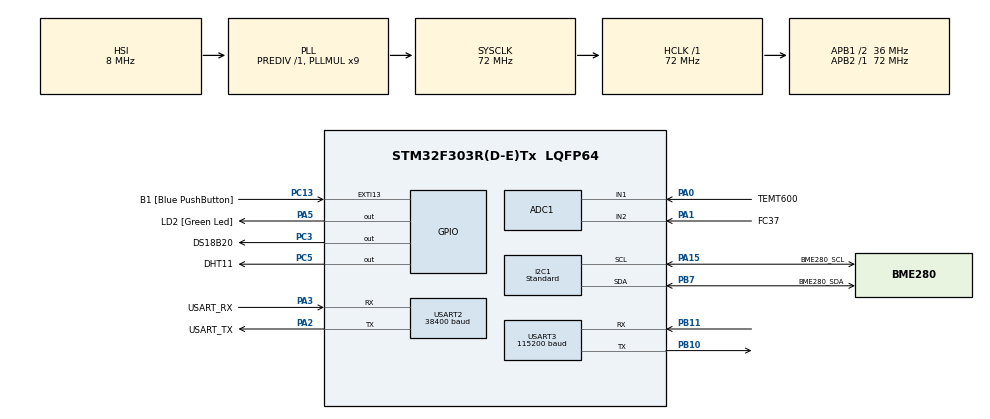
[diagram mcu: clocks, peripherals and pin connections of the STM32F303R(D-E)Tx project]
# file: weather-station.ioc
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ADC1.Channel-2\#ChannelRegularConversion=ADC_CHANNEL_1
ADC1.Channel-3\#ChannelRegularConversion=ADC_CHANNEL_2
ADC1.ClockPrescaler=ADC_CLOCK_SYNC_PCLK_DIV4
ADC1.ContinuousConvMode=DISABLE
ADC1.DMAContinuousRequests=ENABLE
ADC1.ExternalTrigConv=ADC_EXTERNALTRIGCONV_T2_TRGO
ADC1.NbrOfConversion=2
ADC1.NbrOfConversionFlag=1
ADC1.Offset-2\#ChannelRegularConversion=0
ADC1.Offset-3\#ChannelRegularConversion=0
ADC1.OffsetNumber-2\#ChannelRegularConversion=ADC_OFFSET_NONE
ADC1.OffsetNumber-3\#ChannelRegularConversion=ADC_OFFSET_NONE
ADC1.Rank-2\#ChannelRegularConversion=1
ADC1.Rank-3\#ChannelRegularConversion=2
ADC1.SamplingTime-2\#ChannelRegularConversion=ADC_SAMPLETIME_601CYCLES_5
ADC1.SamplingTime-3\#ChannelRegularConversion=ADC_SAMPLETIME_601CYCLES_5
ADC1.master=1
Dma.ADC1.0.Direction=DMA_PERIPH_TO_MEMORY
Dma.ADC1.0.Instance=DMA1_Channel1
Dma.ADC1.0.MemDataAlignment=DMA_MDATAALIGN_HALFWORD
Dma.ADC1.0.MemInc=DMA_MINC_ENABLE
Dma.ADC1.0.Mode=DMA_CIRCULAR
Dma.ADC1.0.PeriphDataAlignment=DMA_PDATAALIGN_HALFWORD
Dma.ADC1.0.PeriphInc=DMA_PINC_DISABLE
Dma.ADC1.0.Priority=DMA_PRIORITY_LOW
Dma.Request0=ADC1
I2C1.I2C_Speed_Mode=I2C_Standard
I2C1.Timing=0x2000090E
Mcu.Family=STM32F3
Mcu.Name=STM32F303R(D-E)Tx
Mcu.Package=LQFP64
NVIC.DMA1_Channel1_IRQn=true\:0\:0\:false\:false\:true\:false\:true
NVIC.PriorityGroup=NVIC_PRIORITYGROUP_0
NVIC.RTC_Alarm_IRQn=true\:0\:0\:false\:false\:true\:true\:true
NVIC.USART3_IRQn=true\:0\:0\:false\:false\:true\:true\:true
PA0.GPIO_Label=TEMT600
PA0.Mode=IN1-Single-Ended
PA0.Signal=ADC1_IN1
PA1.GPIO_Label=FC37
PA1.Mode=IN2-Single-Ended
PA1.Signal=ADC1_IN2
PA13.GPIO_Label=TMS
PA13.Mode=Serial_Wire
PA13.Signal=SYS_JTMS-SWDIO
PA14.GPIO_Label=TCK
PA14.Mode=Serial_Wire
PA14.Signal=SYS_JTCK-SWCLK
PA15.GPIO_Label=BME280_SCL
PA15.Mode=I2C
PA15.Signal=I2C1_SCL
PA2.GPIO_Label=USART_TX
PA2.GPIO_Mode=GPIO_MODE_AF_PP
PA2.GPIO_PuPd=GPIO_NOPULL
PA2.GPIO_Speed=GPIO_SPEED_FREQ_LOW
PA2.Mode=Asynchronous
PA2.Signal=USART2_TX
PA3.GPIO_Label=USART_RX
PA3.GPIO_Mode=GPIO_MODE_AF_PP
PA3.GPIO_PuPd=GPIO_NOPULL
PA3.GPIO_Speed=GPIO_SPEED_FREQ_LOW
PA3.Mode=Asynchronous
PA3.Signal=USART2_RX
PA5.GPIO_Label=LD2 [Green Led]
PA5.GPIO_Mode=GPIO_MODE_OUTPUT_PP
PA5.GPIO_PuPd=GPIO_NOPULL
PA5.GPIO_Speed=GPIO_SPEED_FREQ_LOW
PA5.Signal=GPIO_Output
PB10.Mode=Asynchronous
PB10.Signal=USART3_TX
PB11.Mode=Asynchronous
PB11.Signal=USART3_RX
PB3.GPIO_Label=SWO
PB3.Signal=SYS_JTDO-TRACESWO
PB7.GPIO_Label=BME280_SDA
PB7.Mode=I2C
PB7.Signal=I2C1_SDA
PC13.GPIO_Label=B1 [Blue PushButton]
PC13.GPIO_ModeDefaultEXTI=GPIO_MODE_IT_FALLING
PC13.Signal=GPXTI13
PC14-OSC32_IN.Mode=LSE-External-Oscillator
PC14-OSC32_IN.Signal=RCC_OSC32_IN
PC15-OSC32_OUT.Mode=LSE-External-Oscillator
PC15-OSC32_OUT.Signal=RCC_OSC32_OUT
PC3.GPIO_Label=DS18B20
PC3.GPIO_PuPd=GPIO_PULLUP
PC3.Signal=GPIO_Output
PC5.GPIO_Label=DHT11
PC5.Signal=GPIO_Output
PF0-OSC_IN.Mode=HSE-External-Clock-Source
PF0-OSC_IN.Signal=RCC_OSC_IN
PF1-OSC_OUT.Signal=RCC_OSC_OUT
ProjectManager.HeapSize=0x200
ProjectManager.StackSize=0x400
ProjectManager.TargetToolchain=STM32CubeIDE
RCC.AHBFreq_Value=72000000
RCC.APB1CLKDivider=RCC_HCLK_DIV2
RCC.APB1Freq_Value=36000000
RCC.APB1TimFreq_Value=72000000
RCC.APB2Freq_Value=72000000
RCC.APB2TimFreq_Value=72000000
RCC.CortexFreq_Value=72000000
RCC.HCLKFreq_Value=72000000
RCC.HSE_VALUE=8000000
RCC.HSI_VALUE=8000000
RCC.PLLM=8
RCC.PLLMUL=RCC_PLL_MUL9
RCC.PLLN=336
RCC.PLLP=RCC_PLLP_DIV4
RCC.PLLQ=7
RCC.RCC_PLLsource_Clock_Source_FROM_HSE=RCC_HSE_PREDIV_DIV2
RCC.SYSCLKFreq_VALUE=72000000
RCC.SYSCLKSourceVirtual=RCC_SYSCLKSOURCE_PLLCLK
RCC.USBFreq_Value=72000000
RTC.Alarm-Alarm\ A=RTC_ALARM_A
RTC.AlarmDateWeekDaySel_B-Alarm\ B=RTC_ALARMDATEWEEKDAYSEL_DATE
RTC.AlarmMaskDateWeekDay-Alarm\ A=RTC_ALARMMASK_DATEWEEKDAY
RTC.AlarmMaskDateWeekDay_B-Alarm\ B=RTC_ALARMMASK_DATEWEEKDAY
RTC.AlarmMaskHours-Alarm\ A=RTC_ALARMMASK_HOURS
RTC.AlarmMaskHours_B-Alarm\ B=RTC_ALARMMASK_HOURS
RTC.AlarmMaskMinutes-Alarm\ A=RTC_ALARMMASK_MINUTES
RTC.AlarmMaskSeconds_B-Alarm\ B=RTC_ALARMMASK_SECONDS
RTC.Alarm_B-Alarm\ B=RTC_ALARM_B
RTC.AsynchPrediv=0x7f
RTC.HourFormat=RTC_HOURFORMAT_24
RTC.Minutes_B-Alarm\ B=1
RTC.Seconds_A-Alarm\ A=1
RTC.SynchPrediv=0x0130
TIM2.Period=1999
TIM2.Prescaler=35999
TIM2.TIM_MasterOutputTrigger=TIM_TRGO_UPDATE
USART2.BaudRate=38400
USART2.VirtualMode-Asynchronous=VM_ASYNC
USART3.BaudRate=115200
USART3.VirtualMode-Asynchronous=VM_ASYNC
VP_RTC_VS_RTC_Activate.Mode=RTC_Enabled
VP_RTC_VS_RTC_Alarm_A_Intern.Mode=Alarm A
VP_RTC_VS_RTC_Alarm_B_Intern.Mode=Alarm B
VP_RTC_VS_RTC_Calendar.Mode=RTC_Calendar
VP_TIM2_VS_ClockSourceINT.Mode=Internal
VP_TIM2_VS_ClockSourceITR.Mode=TriggerSource_ITR0
board=NUCLEO-F303RE

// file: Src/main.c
/* USER CODE BEGIN Header */
/**
  ******************************************************************************
  * @file           : main.c
  * @brief          : Main program body
  ******************************************************************************
  * @attention
  *
  * <h2><center>&copy; Copyright (c) 2019 STMicroelectronics.
  * All rights reserved.</center></h2>
  *
  * This software component is licensed by ST under BSD 3-Clause license,
  * the "License"; You may not use this file except in compliance with the
  * License. You may obtain a copy of the License at:
  *                        opensource.org/licenses/BSD-3-Clause
  *
  ******************************************************************************
  */
/* USER CODE END Header */

#include "main.h"

ADC_HandleTypeDef hadc1;
DMA_HandleTypeDef hdma_adc1;

I2C_HandleTypeDef hi2c1;

RTC_HandleTypeDef hrtc;

TIM_HandleTypeDef htim2;

UART_HandleTypeDef huart2;
UART_HandleTypeDef huart3;

void SystemClock_Config(void);
static void MX_GPIO_Init(void);
static void MX_USART2_UART_Init(void);
static void MX_USART3_UART_Init(void);
static void MX_DMA_Init(void);
static void MX_ADC1_Init(void);
static void MX_I2C1_Init(void);
static void MX_TIM2_Init(void);
static void MX_RTC_Init(void);

/* USER CODE BEGIN 0 */
bool is_conversion_completed = false;

RTC_AlarmTypeDef sAlarmA = {0};
uint8_t alarmA_seconds[] = { 0x30, 0x50, 0x10 };
uint8_t alarmA_idx = 0;
bool is_alarmA_fired = false;

RTC_AlarmTypeDef sAlarmB = {0};
uint8_t alarmB_minutes[] = { 0x30, 0x45, 0x0, 0x15 };
uint8_t alarmB_idx = 0;
bool is_alarmB_fired = false;

/* USER CODE END 0 */

int main(void)
{

  /* MCU Configuration--------------------------------------------------------*/

  /* Reset of all peripherals, Initializes the Flash interface and the Systick. */
  HAL_Init();

  /* Configure the system clock */
  SystemClock_Config();

  /* Initialize all configured peripherals */
  MX_GPIO_Init();
  MX_USART2_UART_Init();
  MX_USART3_UART_Init();
  MX_DMA_Init();
  MX_ADC1_Init();
  MX_I2C1_Init();
  MX_TIM2_Init();
  /* USER CODE BEGIN 2 */
  HAL_UART_Transmit(&huart2, (uint8_t*)PROGRAM_STARTED, (uint16_t)strlen(PROGRAM_STARTED), HAL_MAX_DELAY);
  start_sensors(&huart3, &huart2, &hadc1, &htim2, &hi2c1);
  MX_RTC_Init();
  HAL_UART_Transmit(&huart2, (uint8_t*)PROGRAM_READY, (uint16_t)strlen(PROGRAM_READY), HAL_MAX_DELAY);
  /* USER CODE END 2 */

  /* Infinite loop */
  /* USER CODE BEGIN WHILE */

  while (1) {
	  if (is_alarmA_fired) {
		  is_alarmA_fired = false;
		  sample_and_post(ENDPOINT_LIVE_SAMPLE, &is_conversion_completed);
	  } else if (is_alarmB_fired) {
		  is_alarmB_fired = false;
		  sample_and_post(ENDPOINT_NEW_SAMPLE, &is_conversion_completed);
	  }

	  SleepMode_LeaveGpioOn();
    /* USER CODE END WHILE */

  }
}

void SystemClock_Config(void)
{
  RCC_OscInitTypeDef RCC_OscInitStruct = {0};
  RCC_ClkInitTypeDef RCC_ClkInitStruct = {0};
  RCC_PeriphCLKInitTypeDef PeriphClkInit = {0};

  /** Initializes the CPU, AHB and APB busses clocks
  */
  RCC_OscInitStruct.OscillatorType = RCC_OSCILLATORTYPE_HSI|RCC_OSCILLATORTYPE_LSI;
  RCC_OscInitStruct.HSIState = RCC_HSI_ON;
  RCC_OscInitStruct.HSICalibrationValue = RCC_HSICALIBRATION_DEFAULT;
  RCC_OscInitStruct.LSIState = RCC_LSI_ON;
  RCC_OscInitStruct.PLL.PLLState = RCC_PLL_ON;
  RCC_OscInitStruct.PLL.PLLSource = RCC_PLLSOURCE_HSI;
  RCC_OscInitStruct.PLL.PLLMUL = RCC_PLL_MUL9;
  RCC_OscInitStruct.PLL.PREDIV = RCC_PREDIV_DIV1;
  if (HAL_RCC_OscConfig(&RCC_OscInitStruct) != HAL_OK)
  {
    Error_Handler();
  }
  /** Initializes the CPU, AHB and APB busses clocks
  */
  RCC_ClkInitStruct.ClockType = RCC_CLOCKTYPE_HCLK|RCC_CLOCKTYPE_SYSCLK
                              |RCC_CLOCKTYPE_PCLK1|RCC_CLOCKTYPE_PCLK2;
  RCC_ClkInitStruct.SYSCLKSource = RCC_SYSCLKSOURCE_PLLCLK;
  RCC_ClkInitStruct.AHBCLKDivider = RCC_SYSCLK_DIV1;
  RCC_ClkInitStruct.APB1CLKDivider = RCC_HCLK_DIV2;
  RCC_ClkInitStruct.APB2CLKDivider = RCC_HCLK_DIV1;

  if (HAL_RCC_ClockConfig(&RCC_ClkInitStruct, FLASH_LATENCY_2) != HAL_OK)
  {
    Error_Handler();
  }
  PeriphClkInit.PeriphClockSelection = RCC_PERIPHCLK_USART2|RCC_PERIPHCLK_USART3
                              |RCC_PERIPHCLK_I2C1|RCC_PERIPHCLK_RTC
                              |RCC_PERIPHCLK_TIM2;
  PeriphClkInit.Usart2ClockSelection = RCC_USART2CLKSOURCE_PCLK1;
  PeriphClkInit.Usart3ClockSelection = RCC_USART3CLKSOURCE_PCLK1;
  PeriphClkInit.I2c1ClockSelection = RCC_I2C1CLKSOURCE_HSI;
  PeriphClkInit.RTCClockSelection = RCC_RTCCLKSOURCE_LSI;
  PeriphClkInit.Tim2ClockSelection = RCC_TIM2CLK_HCLK;
  if (HAL_RCCEx_PeriphCLKConfig(&PeriphClkInit) != HAL_OK)
  {
    Error_Handler();
  }
}

static void MX_ADC1_Init(void)
{

  ADC_MultiModeTypeDef multimode = {0};
  ADC_ChannelConfTypeDef sConfig = {0};

  /** Common config
  */
  hadc1.Instance = ADC1;
  hadc1.Init.ClockPrescaler = ADC_CLOCK_SYNC_PCLK_DIV4;
  hadc1.Init.Resolution = ADC_RESOLUTION_12B;
  hadc1.Init.ScanConvMode = ADC_SCAN_ENABLE;
  hadc1.Init.ContinuousConvMode = DISABLE;
  hadc1.Init.DiscontinuousConvMode = DISABLE;
  hadc1.Init.ExternalTrigConvEdge = ADC_EXTERNALTRIGCONVEDGE_RISING;
  hadc1.Init.ExternalTrigConv = ADC_EXTERNALTRIGCONV_T2_TRGO;
  hadc1.Init.DataAlign = ADC_DATAALIGN_RIGHT;
  hadc1.Init.NbrOfConversion = 2;
  hadc1.Init.DMAContinuousRequests = ENABLE;
  hadc1.Init.EOCSelection = ADC_EOC_SINGLE_CONV;
  hadc1.Init.LowPowerAutoWait = DISABLE;
  hadc1.Init.Overrun = ADC_OVR_DATA_OVERWRITTEN;
  if (HAL_ADC_Init(&hadc1) != HAL_OK)
  {
    Error_Handler();
  }
  /** Configure the ADC multi-mode
  */
  multimode.Mode = ADC_MODE_INDEPENDENT;
  if (HAL_ADCEx_MultiModeConfigChannel(&hadc1, &multimode) != HAL_OK)
  {
    Error_Handler();
  }
  /** Configure Regular Channel
  */
  sConfig.Channel = ADC_CHANNEL_1;
  sConfig.Rank = ADC_REGULAR_RANK_1;
  sConfig.SingleDiff = ADC_SINGLE_ENDED;
  sConfig.SamplingTime = ADC_SAMPLETIME_601CYCLES_5;
  sConfig.OffsetNumber = ADC_OFFSET_NONE;
  sConfig.Offset = 0;
  if (HAL_ADC_ConfigChannel(&hadc1, &sConfig) != HAL_OK)
  {
    Error_Handler();
  }
  /** Configure Regular Channel
  */
  sConfig.Channel = ADC_CHANNEL_2;
  sConfig.Rank = ADC_REGULAR_RANK_2;
  if (HAL_ADC_ConfigChannel(&hadc1, &sConfig) != HAL_OK)
  {
    Error_Handler();
  }

}

static void MX_I2C1_Init(void)
{

  hi2c1.Instance = I2C1;
  hi2c1.Init.Timing = 0x2000090E;
  hi2c1.Init.OwnAddress1 = 0;
  hi2c1.Init.AddressingMode = I2C_ADDRESSINGMODE_7BIT;
  hi2c1.Init.DualAddressMode = I2C_DUALADDRESS_DISABLE;
  hi2c1.Init.OwnAddress2 = 0;
  hi2c1.Init.OwnAddress2Masks = I2C_OA2_NOMASK;
  hi2c1.Init.GeneralCallMode = I2C_GENERALCALL_DISABLE;
  hi2c1.Init.NoStretchMode = I2C_NOSTRETCH_DISABLE;
  if (HAL_I2C_Init(&hi2c1) != HAL_OK)
  {
    Error_Handler();
  }
  /** Configure Analogue filter
  */
  if (HAL_I2CEx_ConfigAnalogFilter(&hi2c1, I2C_ANALOGFILTER_ENABLE) != HAL_OK)
  {
    Error_Handler();
  }
  /** Configure Digital filter
  */
  if (HAL_I2CEx_ConfigDigitalFilter(&hi2c1, 0) != HAL_OK)
  {
    Error_Handler();
  }

}

static void MX_RTC_Init(void)
{

  RTC_TimeTypeDef sTime = {0};
  RTC_DateTypeDef sDate = {0};
  RTC_AlarmTypeDef sAlarm = {0};

  /** Initialize RTC Only
  */
  hrtc.Instance = RTC;
  hrtc.Init.HourFormat = RTC_HOURFORMAT_24;
  hrtc.Init.AsynchPrediv = 0x7f;
  hrtc.Init.SynchPrediv = 0x0130;
  hrtc.Init.OutPut = RTC_OUTPUT_DISABLE;
  hrtc.Init.OutPutPolarity = RTC_OUTPUT_POLARITY_HIGH;
  hrtc.Init.OutPutType = RTC_OUTPUT_TYPE_OPENDRAIN;
  if (HAL_RTC_Init(&hrtc) != HAL_OK)
  {
    Error_Handler();
  }

  /** Initialize RTC and set the Time and Date
  */
  sTime.Hours = 0x0;
  sTime.Minutes = 0x0;
  sTime.Seconds = 0x0;
  sTime.DayLightSaving = RTC_DAYLIGHTSAVING_NONE;
  sTime.StoreOperation = RTC_STOREOPERATION_RESET;
  if (HAL_RTC_SetTime(&hrtc, &sTime, RTC_FORMAT_BCD) != HAL_OK)
  {
    Error_Handler();
  }
  sDate.WeekDay = RTC_WEEKDAY_MONDAY;
  sDate.Month = RTC_MONTH_JANUARY;
  sDate.Date = 0x1;
  sDate.Year = 0x0;

  if (HAL_RTC_SetDate(&hrtc, &sDate, RTC_FORMAT_BCD) != HAL_OK)
  {
    Error_Handler();
  }
  /** Enable the Alarm A
  */
  sAlarm.AlarmTime.Hours = 0x0;
  sAlarm.AlarmTime.Minutes = 0x0;
  sAlarm.AlarmTime.Seconds = 0x10;
  sAlarm.AlarmTime.SubSeconds = 0x0;
  sAlarm.AlarmTime.DayLightSaving = RTC_DAYLIGHTSAVING_NONE;
  sAlarm.AlarmTime.StoreOperation = RTC_STOREOPERATION_RESET;
  sAlarm.AlarmMask = RTC_ALARMMASK_DATEWEEKDAY|RTC_ALARMMASK_HOURS
                              |RTC_ALARMMASK_MINUTES;
  sAlarm.AlarmSubSecondMask = RTC_ALARMSUBSECONDMASK_ALL;
  sAlarm.AlarmDateWeekDaySel = RTC_ALARMDATEWEEKDAYSEL_DATE;
  sAlarm.AlarmDateWeekDay = 0x1;
  sAlarm.Alarm = RTC_ALARM_A;
  sAlarmA = sAlarm;
  if (HAL_RTC_SetAlarm_IT(&hrtc, &sAlarm, RTC_FORMAT_BCD) != HAL_OK)
  {
    Error_Handler();
  }
  /** Enable the Alarm B
  */
  sAlarm.AlarmTime.Minutes = 0x15;
  sAlarm.AlarmTime.Seconds = 0x0;
  sAlarm.AlarmMask = RTC_ALARMMASK_DATEWEEKDAY|RTC_ALARMMASK_HOURS
                              |RTC_ALARMMASK_SECONDS;
  sAlarm.AlarmDateWeekDay = 0x1;
  sAlarm.Alarm = RTC_ALARM_B;
  sAlarmB = sAlarm;
  if (HAL_RTC_SetAlarm_IT(&hrtc, &sAlarm, RTC_FORMAT_BCD) != HAL_OK)
  {
    Error_Handler();
  }

}

static void MX_TIM2_Init(void)
{

  TIM_ClockConfigTypeDef sClockSourceConfig = {0};
  TIM_SlaveConfigTypeDef sSlaveConfig = {0};
  TIM_MasterConfigTypeDef sMasterConfig = {0};

  htim2.Instance = TIM2;
  htim2.Init.Prescaler = 35999;
  htim2.Init.CounterMode = TIM_COUNTERMODE_UP;
  htim2.Init.Period = 1999;
  htim2.Init.ClockDivision = TIM_CLOCKDIVISION_DIV1;
  htim2.Init.AutoReloadPreload = TIM_AUTORELOAD_PRELOAD_DISABLE;
  if (HAL_TIM_Base_Init(&htim2) != HAL_OK)
  {
    Error_Handler();
  }
  sClockSourceConfig.ClockSource = TIM_CLOCKSOURCE_INTERNAL;
  if (HAL_TIM_ConfigClockSource(&htim2, &sClockSourceConfig) != HAL_OK)
  {
    Error_Handler();
  }
  sSlaveConfig.SlaveMode = TIM_SLAVEMODE_DISABLE;
  sSlaveConfig.InputTrigger = TIM_TS_ITR0;
  if (HAL_TIM_SlaveConfigSynchro(&htim2, &sSlaveConfig) != HAL_OK)
  {
    Error_Handler();
  }
  sMasterConfig.MasterOutputTrigger = TIM_TRGO_UPDATE;
  sMasterConfig.MasterSlaveMode = TIM_MASTERSLAVEMODE_DISABLE;
  if (HAL_TIMEx_MasterConfigSynchronization(&htim2, &sMasterConfig) != HAL_OK)
  {
    Error_Handler();
  }

}

static void MX_USART2_UART_Init(void)
{

  huart2.Instance = USART2;
  huart2.Init.BaudRate = 38400;
  huart2.Init.WordLength = UART_WORDLENGTH_8B;
  huart2.Init.StopBits = UART_STOPBITS_1;
  huart2.Init.Parity = UART_PARITY_NONE;
  huart2.Init.Mode = UART_MODE_TX_RX;
  huart2.Init.HwFlowCtl = UART_HWCONTROL_NONE;
  huart2.Init.OverSampling = UART_OVERSAMPLING_16;
  huart2.Init.OneBitSampling = UART_ONE_BIT_SAMPLE_DISABLE;
  huart2.AdvancedInit.AdvFeatureInit = UART_ADVFEATURE_NO_INIT;
  if (HAL_UART_Init(&huart2) != HAL_OK)
  {
    Error_Handler();
  }

}

static void MX_USART3_UART_Init(void)
{

  huart3.Instance = USART3;
  huart3.Init.BaudRate = 115200;
  huart3.Init.WordLength = UART_WORDLENGTH_8B;
  huart3.Init.StopBits = UART_STOPBITS_1;
  huart3.Init.Parity = UART_PARITY_NONE;
  huart3.Init.Mode = UART_MODE_TX_RX;
  huart3.Init.HwFlowCtl = UART_HWCONTROL_NONE;
  huart3.Init.OverSampling = UART_OVERSAMPLING_16;
  huart3.Init.OneBitSampling = UART_ONE_BIT_SAMPLE_DISABLE;
  huart3.AdvancedInit.AdvFeatureInit = UART_ADVFEATURE_NO_INIT;
  if (HAL_UART_Init(&huart3) != HAL_OK)
  {
    Error_Handler();
  }

}

static void MX_DMA_Init(void)
{

  /* DMA controller clock enable */
  __HAL_RCC_DMA1_CLK_ENABLE();

  /* DMA interrupt init */
  /* DMA1_Channel1_IRQn interrupt configuration */
  HAL_NVIC_SetPriority(DMA1_Channel1_IRQn, 0, 0);
  HAL_NVIC_EnableIRQ(DMA1_Channel1_IRQn);

}

static void MX_GPIO_Init(void)
{
  GPIO_InitTypeDef GPIO_InitStruct = {0};

  /* GPIO Ports Clock Enable */
  __HAL_RCC_GPIOC_CLK_ENABLE();
  __HAL_RCC_GPIOF_CLK_ENABLE();
  __HAL_RCC_GPIOA_CLK_ENABLE();
  __HAL_RCC_GPIOB_CLK_ENABLE();

  /*Configure GPIO pin Output Level */
  HAL_GPIO_WritePin(GPIOC, DS18B20_Pin|DHT11_Pin, GPIO_PIN_RESET);

  /*Configure GPIO pin Output Level */
  HAL_GPIO_WritePin(LD2_GPIO_Port, LD2_Pin, GPIO_PIN_RESET);

  /*Configure GPIO pin : B1_Pin */
  GPIO_InitStruct.Pin = B1_Pin;
  GPIO_InitStruct.Mode = GPIO_MODE_IT_FALLING;
  GPIO_InitStruct.Pull = GPIO_NOPULL;
  HAL_GPIO_Init(B1_GPIO_Port, &GPIO_InitStruct);

  /*Configure GPIO pin : DS18B20_Pin */
  GPIO_InitStruct.Pin = DS18B20_Pin;
  GPIO_InitStruct.Mode = GPIO_MODE_OUTPUT_PP;
  GPIO_InitStruct.Pull = GPIO_PULLUP;
  GPIO_InitStruct.Speed = GPIO_SPEED_FREQ_LOW;
  HAL_GPIO_Init(DS18B20_GPIO_Port, &GPIO_InitStruct);

  /*Configure GPIO pin : LD2_Pin */
  GPIO_InitStruct.Pin = LD2_Pin;
  GPIO_InitStruct.Mode = GPIO_MODE_OUTPUT_PP;
  GPIO_InitStruct.Pull = GPIO_NOPULL;
  GPIO_InitStruct.Speed = GPIO_SPEED_FREQ_LOW;
  HAL_GPIO_Init(LD2_GPIO_Port, &GPIO_InitStruct);

  /*Configure GPIO pin : DHT11_Pin */
  GPIO_InitStruct.Pin = DHT11_Pin;
  GPIO_InitStruct.Mode = GPIO_MODE_OUTPUT_PP;
  GPIO_InitStruct.Pull = GPIO_NOPULL;
  GPIO_InitStruct.Speed = GPIO_SPEED_FREQ_LOW;
  HAL_GPIO_Init(DHT11_GPIO_Port, &GPIO_InitStruct);

}

/* USER CODE BEGIN 4 */
void HAL_UART_RxCpltCallback(UART_HandleTypeDef *huart)
{
	if (huart->Instance == USART3)
		ESP8266_ReceiveAnswer();
}

void HAL_ADC_ConvCpltCallback(ADC_HandleTypeDef *hadc)
{
	if (hadc->Instance == ADC1)
		is_conversion_completed = true;
}

void HAL_ADC_ErrorCallback(ADC_HandleTypeDef *hadc)
{
	HAL_UART_Transmit(&huart2, (uint8_t*)"ADC DMA Error\r\n", strlen("ADC DMA Error\r\n"), HAL_MAX_DELAY);
	asm("BKPT #0");
}

void HAL_RTC_AlarmAEventCallback(RTC_HandleTypeDef *hrtc)
{
	is_alarmA_fired = true;
	sAlarmA.AlarmTime.Seconds = alarmA_seconds[alarmA_idx++%3];
	HAL_RTC_SetAlarm_IT(hrtc, &sAlarmA, RTC_FORMAT_BCD);
}

void HAL_RTCEx_AlarmBEventCallback(RTC_HandleTypeDef *hrtc)
{
	is_alarmB_fired = true;
	sAlarmB.AlarmTime.Minutes = alarmB_minutes[alarmB_idx++%4];
	HAL_RTC_SetAlarm_IT(hrtc, &sAlarmB, RTC_FORMAT_BCD);
}

void SleepMode_LeaveGpioOn(void)
{
	HAL_UART_DeInit(&huart2);
	HAL_SuspendTick();

	__HAL_RCC_PWR_CLK_ENABLE();
	HAL_PWR_EnterSLEEPMode(0, PWR_SLEEPENTRY_WFE);

	HAL_ResumeTick();
	MX_USART2_UART_Init();
}

/* USER CODE END 4 */

void Error_Handler(void)
{
}

/************************ (C) COPYRIGHT STMicroelectronics *****END OF FILE****/
